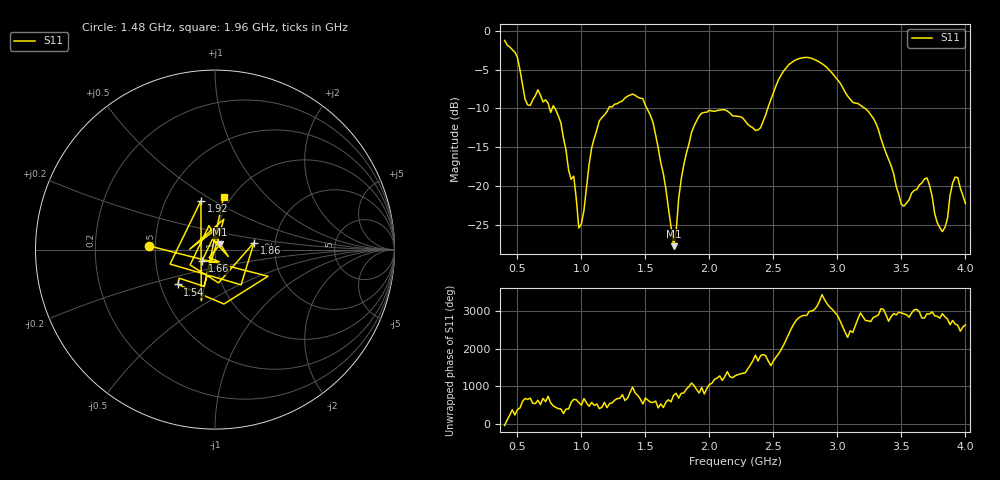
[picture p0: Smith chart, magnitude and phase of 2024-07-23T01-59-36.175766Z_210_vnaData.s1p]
!Created with skrf (http://scikit-rf.org).
# Hz S RI R 50.0
!freq ReS11 ImS11
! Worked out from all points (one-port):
!   181 points, 400 MHz to 4 GHz, reference 50 ohm
!   lowest |S11| = -27.7 dB at 1.72 GHz (marker M1), VSWR 1.09, Z = 52.9 + j3.1 ohm
!   |S11| at or under -10 dB: 792.9 MHz to 1.212 GHz (419.4 MHz wide, 41.8 % of centre); 1.512 GHz to 2.456 GHz (943.8 MHz wide, 47.6 % of centre); 3.216 GHz to end of sweep (the widest 3 of 4)
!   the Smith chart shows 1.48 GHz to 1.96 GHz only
!   S11 on the Smith chart (normalised r, x): 1.48 GHz: 0.46, +0.02; 1.54 GHz: 0.61, -0.26; 1.66 GHz: 0.86, -0.11; 1.86 GHz: 1.55, +0.13; 1.92 GHz: 0.74, +0.44; 1.96 GHz: 0.92, +0.59
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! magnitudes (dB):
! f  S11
! 400 MHz  -1.3
! 500 MHz  -3.4
! 580 MHz  -9.5
! 660 MHz  -7.6
! 860 MHz  -13.8
! 940 MHz  -18.7
! 980 MHz  -25.4
! 1.14 GHz  -11.6
! 1.3 GHz  -9.2
! 1.48 GHz  -8.7
! 1.54 GHz  -10.9
! 1.66 GHz  -20.4
! 1.72 GHz  -27.7
! 1.76 GHz  -21.6
! 1.86 GHz  -13.1
! 1.92 GHz  -11.0
! 1.96 GHz  -10.5
! 2.2 GHz  -11.0
! 2.4 GHz  -12.5
! 2.66 GHz  -3.9
! 3.1 GHz  -8.8
! 3.28 GHz  -11.3
! 3.5 GHz  -22.3
! 3.56 GHz  -21.7
! 3.7 GHz  -18.9
! 3.82 GHz  -25.8
! 3.92 GHz  -18.8
! 4 GHz  -22.2
